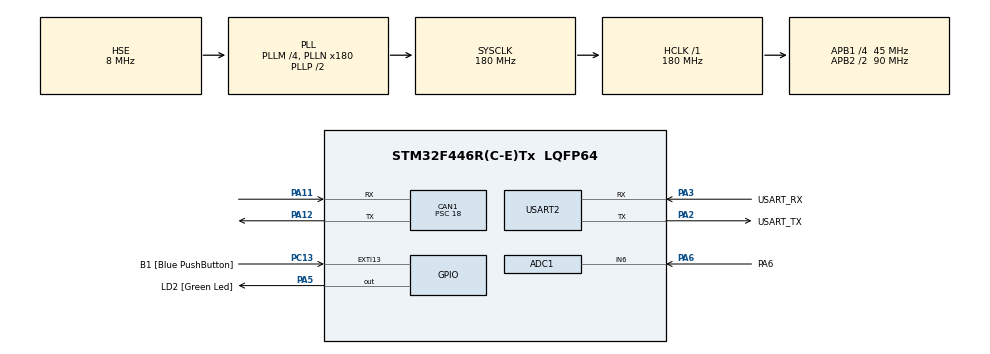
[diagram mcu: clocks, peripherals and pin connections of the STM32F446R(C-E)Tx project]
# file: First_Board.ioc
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ADC1.Channel-3\#ChannelRegularConversion=ADC_CHANNEL_6
ADC1.NbrOfConversionFlag=1
ADC1.Rank-3\#ChannelRegularConversion=1
ADC1.SamplingTime-3\#ChannelRegularConversion=ADC_SAMPLETIME_84CYCLES
ADC1.master=1
CAN1.ABOM=ENABLE
CAN1.BS1=CAN_BS1_2TQ
CAN1.BS2=CAN_BS2_2TQ
CAN1.CalculateBaudRate=500000
CAN1.CalculateTimeBit=2000
CAN1.CalculateTimeQuantum=400.0
CAN1.Mode=CAN_MODE_NORMAL
CAN1.NART=ENABLE
CAN1.Prescaler=18
Mcu.Family=STM32F4
Mcu.Name=STM32F446R(C-E)Tx
Mcu.Package=LQFP64
NVIC.CAN1_RX0_IRQn=true\:0\:0\:false\:false\:true\:true\:true\:true
NVIC.EXTI15_10_IRQn=true\:0\:0\:false\:false\:true\:true\:true\:true
NVIC.PriorityGroup=NVIC_PRIORITYGROUP_0
PA11.GPIO_PuPd=GPIO_PULLUP
PA11.Mode=CAN_Activate
PA11.Signal=CAN1_RX
PA12.Mode=CAN_Activate
PA12.Signal=CAN1_TX
PA13.GPIO_Label=TMS
PA13.Mode=Serial_Wire
PA13.Signal=SYS_JTMS-SWDIO
PA14.GPIO_Label=TCK
PA14.Mode=Serial_Wire
PA14.Signal=SYS_JTCK-SWCLK
PA2.GPIO_Label=USART_TX
PA2.Mode=Asynchronous
PA2.Signal=USART2_TX
PA3.GPIO_Label=USART_RX
PA3.Mode=Asynchronous
PA3.Signal=USART2_RX
PA5.GPIO_Label=LD2 [Green Led]
PA5.Signal=GPIO_Output
PA6.GPIO_Label=PA6
PA6.Signal=ADCx_IN6
PB3.GPIO_Label=SWO
PB3.Signal=SYS_JTDO-SWO
PC13.GPIO_Label=B1 [Blue PushButton]
PC13.GPIO_ModeDefaultEXTI=GPIO_MODE_IT_FALLING
PC13.Signal=GPXTI13
PC14-OSC32_IN.Mode=LSE-External-Oscillator
PC14-OSC32_IN.Signal=RCC_OSC32_IN
PC15-OSC32_OUT.Mode=LSE-External-Oscillator
PC15-OSC32_OUT.Signal=RCC_OSC32_OUT
PH0-OSC_IN.Mode=HSE-External-Oscillator
PH0-OSC_IN.Signal=RCC_OSC_IN
PH1-OSC_OUT.Mode=HSE-External-Oscillator
PH1-OSC_OUT.Signal=RCC_OSC_OUT
ProjectManager.HeapSize=0x200
ProjectManager.StackSize=0x400
ProjectManager.TargetToolchain=CMake
RCC.48MHZClocksFreq_Value=84000000
RCC.AHBFreq_Value=180000000
RCC.APB1CLKDivider=RCC_HCLK_DIV4
RCC.APB1Freq_Value=45000000
RCC.APB1TimFreq_Value=90000000
RCC.APB2CLKDivider=RCC_HCLK_DIV2
RCC.APB2Freq_Value=90000000
RCC.APB2TimFreq_Value=180000000
RCC.CortexFreq_Value=180000000
RCC.FLatency-AdvancedSettings=FLASH_LATENCY_5
RCC.HCLKFreq_Value=180000000
RCC.HSE_VALUE=8000000
RCC.HSI_VALUE=16000000
RCC.PLLM=4
RCC.PLLN=180
RCC.PLLSourceVirtual=RCC_PLLSOURCE_HSE
RCC.SYSCLKFreq_VALUE=180000000
RCC.SYSCLKSource=RCC_SYSCLKSOURCE_PLLCLK
RCC.USBFreq_Value=180000000
RCC.VCOOutputFreq_Value=360000000
SH.ADCx_IN6.0=ADC1_IN6,IN6
USART2.VirtualMode=VM_ASYNC
board=NUCLEO-F446RE

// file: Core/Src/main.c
/* USER CODE BEGIN Header */
/**
  ******************************************************************************
  * @file           : main.c
  * @brief          : Main program body
  ******************************************************************************
  * @attention
  *
  * Copyright (c) 2026 STMicroelectronics.
  * All rights reserved.
  *
  * This software is licensed under terms that can be found in the LICENSE file
  * in the root directory of this software component.
  * If no LICENSE file comes with this software, it is provided AS-IS.
  *
  ******************************************************************************
  */
/* USER CODE END Header */
#include "main.h"

/* USER CODE BEGIN Includes */
#include <string.h>

#include "can_protocol.h"
#include "logger.h"
/* USER CODE END Includes */

ADC_HandleTypeDef hadc1;

CAN_HandleTypeDef hcan1;

UART_HandleTypeDef huart2;

void SystemClock_Config(void);
static void MX_GPIO_Init(void);
static void MX_USART2_UART_Init(void);
static void MX_CAN1_Init(void);
static void MX_ADC1_Init(void);

/* USER CODE BEGIN 0 */
CAN_TxHeaderTypeDef TxHeader;
CAN_RxHeaderTypeDef RxHeader;

uint32_t TxMailbox;

uint8_t TxData[8];
uint8_t RxData[8];

volatile int datacheck = 0;

uint32_t adc_value = 0;
volatile uint32_t error_count = 0;

void HAL_CAN_RxFifo0MsgPendingCallback(CAN_HandleTypeDef *hcan)
{
  HAL_CAN_GetRxMessage(&hcan1, CAN_RX_FIFO0, &RxHeader, RxData);
  if(RxHeader.DLC == 1){
    datacheck = 1;
  }
}

/* USER CODE END 0 */

int main(void)
{

  /* MCU Configuration--------------------------------------------------------*/

  /* Reset of all peripherals, Initializes the Flash interface and the Systick. */
  HAL_Init();

  /* Configure the system clock */
  SystemClock_Config();

  /* Initialize all configured peripherals */
  MX_GPIO_Init();
  MX_USART2_UART_Init();
  MX_CAN1_Init();
  MX_ADC1_Init();
  /* USER CODE BEGIN 2 */
  logger_init(&huart2);
  HAL_GPIO_WritePin(LD2_GPIO_Port,LD2_Pin,GPIO_PIN_RESET);

  HAL_CAN_Stop(&hcan1);
  HAL_CAN_ResetError(&hcan1);

  if (HAL_CAN_Start(&hcan1) != HAL_OK) {
      Error_Handler();
  }
  HAL_CAN_ActivateNotification(&hcan1, CAN_IT_RX_FIFO0_MSG_PENDING);

  TxHeader.DLC = CAN_DLC_CONTROL;
  TxHeader.IDE = CAN_ID_STD;
  TxHeader.RTR = CAN_RTR_DATA;
  TxHeader.StdId = CAN_ID_MASTER_TO_SLAVE;

  /* USER CODE END 2 */

  /* Infinite loop */
  /* USER CODE BEGIN WHILE */
  while (1)
  {
    HAL_ADC_Start(&hadc1);
    if(HAL_ADC_PollForConversion(&hadc1, 10) == HAL_OK) {
      adc_value = HAL_ADC_GetValue(&hadc1);
    }
    HAL_ADC_Stop(&hadc1);

    TxData[CAN_IDX_LIGHT_LEVEL] = (adc_value * 255) / 4095;

    if(HAL_CAN_AddTxMessage(&hcan1, &TxHeader, TxData, &TxMailbox) != HAL_OK){
      error_count++;
    }

    logger_log(LOG_TYPE_INFO, "ADC = %lu LIGHT = %u\r\n",
                 (unsigned long)adc_value,
                 (unsigned int)TxData[CAN_IDX_LIGHT_LEVEL]);

    HAL_Delay(50);
    /* USER CODE END WHILE */

  }
}

void SystemClock_Config(void)
{
  RCC_OscInitTypeDef RCC_OscInitStruct = {0};
  RCC_ClkInitTypeDef RCC_ClkInitStruct = {0};

  /** Configure the main internal regulator output voltage
  */
  __HAL_RCC_PWR_CLK_ENABLE();
  __HAL_PWR_VOLTAGESCALING_CONFIG(PWR_REGULATOR_VOLTAGE_SCALE1);

  /** Initializes the RCC Oscillators according to the specified parameters
  * in the RCC_OscInitTypeDef structure.
  */
  RCC_OscInitStruct.OscillatorType = RCC_OSCILLATORTYPE_HSE;
  RCC_OscInitStruct.HSEState = RCC_HSE_ON;
  RCC_OscInitStruct.PLL.PLLState = RCC_PLL_ON;
  RCC_OscInitStruct.PLL.PLLSource = RCC_PLLSOURCE_HSE;
  RCC_OscInitStruct.PLL.PLLM = 4;
  RCC_OscInitStruct.PLL.PLLN = 180;
  RCC_OscInitStruct.PLL.PLLP = RCC_PLLP_DIV2;
  RCC_OscInitStruct.PLL.PLLQ = 2;
  RCC_OscInitStruct.PLL.PLLR = 2;
  if (HAL_RCC_OscConfig(&RCC_OscInitStruct) != HAL_OK)
  {
    Error_Handler();
  }

  /** Activate the Over-Drive mode
  */
  if (HAL_PWREx_EnableOverDrive() != HAL_OK)
  {
    Error_Handler();
  }

  /** Initializes the CPU, AHB and APB buses clocks
  */
  RCC_ClkInitStruct.ClockType = RCC_CLOCKTYPE_HCLK|RCC_CLOCKTYPE_SYSCLK
                              |RCC_CLOCKTYPE_PCLK1|RCC_CLOCKTYPE_PCLK2;
  RCC_ClkInitStruct.SYSCLKSource = RCC_SYSCLKSOURCE_PLLCLK;
  RCC_ClkInitStruct.AHBCLKDivider = RCC_SYSCLK_DIV1;
  RCC_ClkInitStruct.APB1CLKDivider = RCC_HCLK_DIV4;
  RCC_ClkInitStruct.APB2CLKDivider = RCC_HCLK_DIV2;

  if (HAL_RCC_ClockConfig(&RCC_ClkInitStruct, FLASH_LATENCY_5) != HAL_OK)
  {
    Error_Handler();
  }
}

static void MX_ADC1_Init(void)
{

  ADC_ChannelConfTypeDef sConfig = {0};

  /** Configure the global features of the ADC (Clock, Resolution, Data Alignment and number of conversion)
  */
  hadc1.Instance = ADC1;
  hadc1.Init.ClockPrescaler = ADC_CLOCK_SYNC_PCLK_DIV4;
  hadc1.Init.Resolution = ADC_RESOLUTION_12B;
  hadc1.Init.ScanConvMode = DISABLE;
  hadc1.Init.ContinuousConvMode = DISABLE;
  hadc1.Init.DiscontinuousConvMode = DISABLE;
  hadc1.Init.ExternalTrigConvEdge = ADC_EXTERNALTRIGCONVEDGE_NONE;
  hadc1.Init.ExternalTrigConv = ADC_SOFTWARE_START;
  hadc1.Init.DataAlign = ADC_DATAALIGN_RIGHT;
  hadc1.Init.NbrOfConversion = 1;
  hadc1.Init.DMAContinuousRequests = DISABLE;
  hadc1.Init.EOCSelection = ADC_EOC_SINGLE_CONV;
  if (HAL_ADC_Init(&hadc1) != HAL_OK)
  {
    Error_Handler();
  }

  /** Configure for the selected ADC regular channel its corresponding rank in the sequencer and its sample time.
  */
  sConfig.Channel = ADC_CHANNEL_6;
  sConfig.Rank = 1;
  sConfig.SamplingTime = ADC_SAMPLETIME_84CYCLES;
  if (HAL_ADC_ConfigChannel(&hadc1, &sConfig) != HAL_OK)
  {
    Error_Handler();
  }

}

static void MX_CAN1_Init(void)
{

  hcan1.Instance = CAN1;
  hcan1.Init.Prescaler = 18;
  hcan1.Init.Mode = CAN_MODE_NORMAL;
  hcan1.Init.SyncJumpWidth = CAN_SJW_1TQ;
  hcan1.Init.TimeSeg1 = CAN_BS1_2TQ;
  hcan1.Init.TimeSeg2 = CAN_BS2_2TQ;
  hcan1.Init.TimeTriggeredMode = DISABLE;
  hcan1.Init.AutoBusOff = ENABLE;
  hcan1.Init.AutoWakeUp = DISABLE;
  hcan1.Init.AutoRetransmission = ENABLE;
  hcan1.Init.ReceiveFifoLocked = DISABLE;
  hcan1.Init.TransmitFifoPriority = DISABLE;
  if (HAL_CAN_Init(&hcan1) != HAL_OK)
  {
    Error_Handler();
  }
  /* USER CODE BEGIN CAN1_Init 2 */
  CAN_FilterTypeDef canfilterconfig;

  canfilterconfig.FilterActivation = CAN_FILTER_ENABLE;
  canfilterconfig.FilterBank = 18;
  canfilterconfig.FilterFIFOAssignment = CAN_RX_FIFO0;
  canfilterconfig.FilterIdHigh = 0x103<<5;
  canfilterconfig.FilterIdLow = 0x0000;
  canfilterconfig.FilterMaskIdHigh = 0x103<<5;
  canfilterconfig.FilterMaskIdLow = 0x0000;
  canfilterconfig.FilterMode = CAN_FILTERMODE_IDMASK;
  canfilterconfig.FilterScale = CAN_FILTERSCALE_32BIT;
  canfilterconfig.SlaveStartFilterBank = 20;

  if (HAL_CAN_ConfigFilter(&hcan1, &canfilterconfig) != HAL_OK)
  {
    Error_Handler();
  }

  HAL_CAN_Start(&hcan1);
  HAL_CAN_ActivateNotification(&hcan1, CAN_IT_RX_FIFO0_MSG_PENDING);
  /* USER CODE END CAN1_Init 2 */

}

static void MX_USART2_UART_Init(void)
{

  huart2.Instance = USART2;
  huart2.Init.BaudRate = 115200;
  huart2.Init.WordLength = UART_WORDLENGTH_8B;
  huart2.Init.StopBits = UART_STOPBITS_1;
  huart2.Init.Parity = UART_PARITY_NONE;
  huart2.Init.Mode = UART_MODE_TX_RX;
  huart2.Init.HwFlowCtl = UART_HWCONTROL_NONE;
  huart2.Init.OverSampling = UART_OVERSAMPLING_16;
  if (HAL_UART_Init(&huart2) != HAL_OK)
  {
    Error_Handler();
  }

}

static void MX_GPIO_Init(void)
{
  GPIO_InitTypeDef GPIO_InitStruct = {0};

  /* GPIO Ports Clock Enable */
  __HAL_RCC_GPIOC_CLK_ENABLE();
  __HAL_RCC_GPIOH_CLK_ENABLE();
  __HAL_RCC_GPIOA_CLK_ENABLE();
  __HAL_RCC_GPIOB_CLK_ENABLE();

  /*Configure GPIO pin Output Level */
  HAL_GPIO_WritePin(LD2_GPIO_Port, LD2_Pin, GPIO_PIN_RESET);

  /*Configure GPIO pin : B1_Pin */
  GPIO_InitStruct.Pin = B1_Pin;
  GPIO_InitStruct.Mode = GPIO_MODE_IT_RISING;
  GPIO_InitStruct.Pull = GPIO_NOPULL;
  HAL_GPIO_Init(B1_GPIO_Port, &GPIO_InitStruct);

  /*Configure GPIO pin : LD2_Pin */
  GPIO_InitStruct.Pin = LD2_Pin;
  GPIO_InitStruct.Mode = GPIO_MODE_OUTPUT_PP;
  GPIO_InitStruct.Pull = GPIO_NOPULL;
  GPIO_InitStruct.Speed = GPIO_SPEED_FREQ_LOW;
  HAL_GPIO_Init(LD2_GPIO_Port, &GPIO_InitStruct);

  /* EXTI interrupt init*/
  HAL_NVIC_SetPriority(EXTI15_10_IRQn, 0, 0);
  HAL_NVIC_EnableIRQ(EXTI15_10_IRQn);

}

void Error_Handler(void)
{
  __disable_irq();
  while (1)
  {
  }
}
